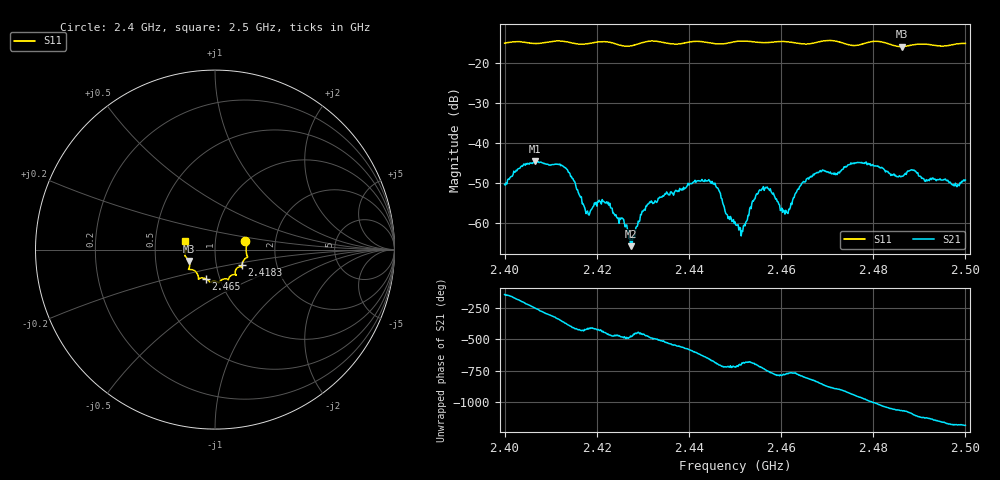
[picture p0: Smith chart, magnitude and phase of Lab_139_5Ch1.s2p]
# Hz S RI R 50
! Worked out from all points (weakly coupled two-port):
!   601 points, 2.4 GHz to 2.5 GHz, reference 50 ohm
!   highest |S21| = -44.55 dB at 2.4065 GHz (marker M1); lowest = -65.7 dB at 2.4273 GHz (marker M2)
!   lowest |S11| = -16.0 dB at 2.4862 GHz (marker M3), VSWR 1.38, Z = 37.1 - j4.84 ohm
!   |S11| at or under -10 dB: start of sweep to end of sweep
!   S12 and S22 are empty: the file has one direction only
!   S11 on the Smith chart (normalised r, x): 2.4 GHz: 1.40, +0.13; 2.4183 GHz: 1.33, -0.24; 2.465 GHz: 0.86, -0.29; 2.5 GHz: 0.71, +0.07
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2.4e9  0.1689 0.0458  -0.00248 -0.00175  0 0  0 0
2.4065e9  0.173 0.00306  -0.00201 0.00557  0 0  0 0
2.413e9  0.1784 -0.044  0.00486 -0.000844  0 0  0 0
2.416667e9  0.1551 -0.0684  0.000678 -0.00202  0 0  0 0
2.418333e9  0.15 -0.0869  0.000762 -0.001  0 0  0 0
2.422333e9  0.1517 -0.0995  -0.000359 -0.00171  0 0  0 0
2.426e9  0.1253 -0.1007  -0.000494 -0.000858  0 0  0 0
2.427333e9  0.1163 -0.1119  -0.000216 -0.00047  0 0  0 0
2.430333e9  0.1151 -0.1385  -0.00035 -0.00144  0 0  0 0
2.433333e9  0.1169 -0.1414  -0.00172 -0.00109  0 0  0 0
2.4445e9  0.0653 -0.1633  0.00175 0.00278  0 0  0 0
2.45e9  0.0254 -0.1808  0.00104 -6.35e-06  0 0  0 0
2.451833e9  0.0212 -0.1847  0.000763 0.000525  0 0  0 0
2.454167e9  0.0131 -0.1807  0.00174 0.000939  0 0  0 0
2.4565e9  -0.00542 -0.1772  0.00252 -0.00102  0 0  0 0
2.461333e9  -0.031 -0.1792  0.000826 -0.00108  0 0  0 0
2.465e9  -0.0525 -0.1622  0.000499 -0.00324  0 0  0 0
2.466667e9  -0.0712 -0.1578  -0.000827 -0.00369  0 0  0 0
2.477e9  -0.1216 -0.1138  -0.00268 0.00502  0 0  0 0
2.483333e9  -0.1422 -0.096  0.00351 0.00235  0 0  0 0
2.486167e9  -0.1448 -0.0636  0.00375 0.000811  0 0  0 0
2.5e9  -0.1669 0.0471  -0.000984 -0.0033  0 0  0 0
